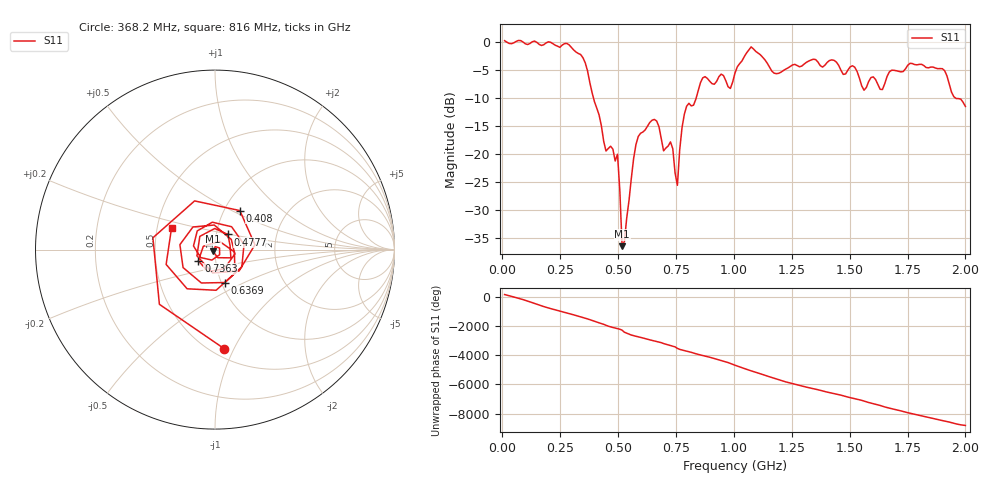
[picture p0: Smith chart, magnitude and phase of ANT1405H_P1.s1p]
!Created with skrf (http://scikit-rf.org).
# Hz S RI R 50.0
!freq ReS11 ImS11
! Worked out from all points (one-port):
!   201 points, 10 MHz to 2 GHz, reference 50 ohm
!   lowest |S11| = -36.5 dB at 517.5 MHz (marker M1), VSWR 1.03, Z = 48.9 - j1.03 ohm
!   |S11| at or under -10 dB: 394 MHz to 837.1 MHz (443.1 MHz wide, 72 % of centre); 1.958 GHz to end of sweep
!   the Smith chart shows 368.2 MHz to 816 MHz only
!   S11 on the Smith chart (normalised r, x): 368.2 MHz: 0.57, -0.92; 408 MHz: 1.18, +0.55; 477.6 MHz: 1.14, +0.19; 636.9 MHz: 1.04, -0.40; 736.4 MHz: 0.82, -0.10; 816 MHz: 0.60, +0.15
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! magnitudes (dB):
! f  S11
! 10 MHz  0.3
! 258.8 MHz  -0.5
! 368.2 MHz  -5.1
! 408 MHz  -11.8
! 447.8 MHz  -19.4
! 477.6 MHz  -19.1
! 497.6 MHz  -20.0
! 507.5 MHz  -26.4
! 517.5 MHz  -36.5
! 577.1 MHz  -18.3
! 636.9 MHz  -14.4
! 666.7 MHz  -14.1
! 696.5 MHz  -19.4
! 736.4 MHz  -19.1
! 756.2 MHz  -25.6
! 786.1 MHz  -12.9
! 816 MHz  -11.4
! 865.7 MHz  -6.4
! 985.1 MHz  -8.3
! 1.005 GHz  -5.5
! 1.075 GHz  -0.8
! 1.174 GHz  -5.5
! 1.254 GHz  -4.0
! 1.502 GHz  -4.4
! 1.562 GHz  -8.6
! 1.751 GHz  -4.1
! 1.901 GHz  -4.7
! 2 GHz  -11.5
